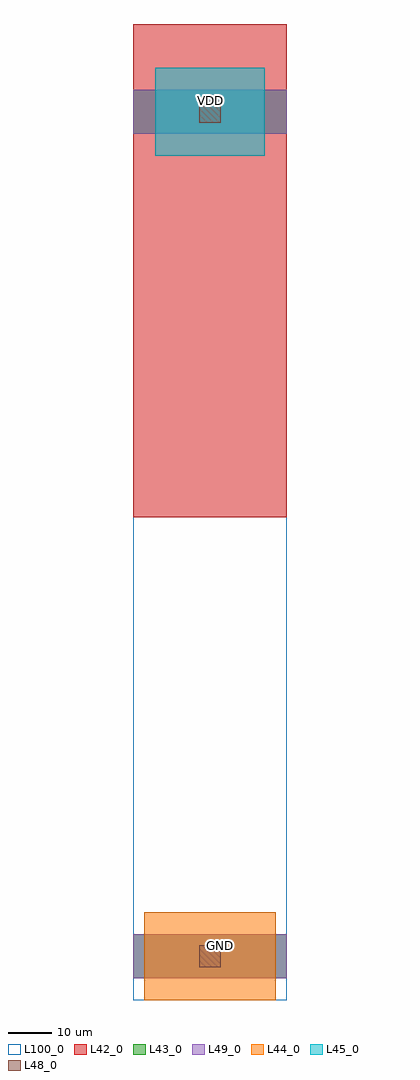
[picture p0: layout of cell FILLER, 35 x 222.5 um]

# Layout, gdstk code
import gdstk
lib = gdstk.Library(unit=1e-6, precision=1e-09)
def R(c, l, rs):  # rectangles x0, y0, x1, y1
    for r in rs: c.add(gdstk.rectangle(r[:2], r[2:], *l))
L42_0 = (42, 0)
L43_0 = (43, 0)
L44_0 = (44, 0)
L45_0 = (45, 0)
L48_0 = (48, 0)
L49_0 = (49, 0)
L100_0 = (100, 0)

filler = lib.new_cell('FILLER')
R(filler, L42_0, [(0,110,2.5,222.5), (2.5,110,32.5,222.5), (32.5,110,35,222.5)])
R(filler, L43_0, [(0,5,35,15), (0,197.5,35,207.5)])
R(filler, L44_0, [(2.5,0,32.5,20)])
R(filler, L45_0, [(5,192.5,30,212.5)])
R(filler, L48_0, [(15,7.5,20,12.5), (15,200,20,205)])
R(filler, L49_0, [(0,5,35,15), (0,197.5,35,207.5)])
R(filler, L100_0, [(0,0,35,222.5)])
filler.add(gdstk.Label('GND', (20,12.5), layer=49, texttype=1))
filler.add(gdstk.Label('VDD', (17.5,205), layer=49, texttype=1))

lib.write_gds('FILLER.gds')
